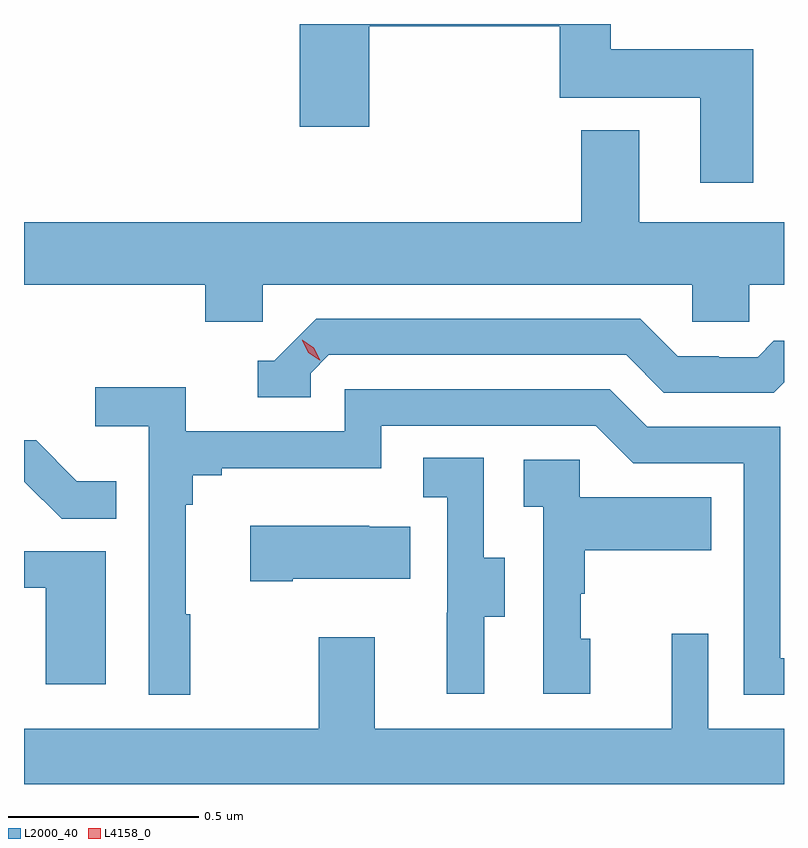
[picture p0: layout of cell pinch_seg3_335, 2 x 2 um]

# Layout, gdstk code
import gdstk
lib = gdstk.Library(unit=1e-6, precision=1e-09)
def P(c, l, *ps):  # polygons
    for p in ps: c.add(gdstk.Polygon(p, *l))
L2000_40 = (2000, 40)
L4158_0 = (4158, 0)

pinch_seg3_335 = lib.new_cell('pinch_seg3_335')
P(pinch_seg3_335, L2000_40, [(1012.567,722.848),(1012.192,722.848),(1012.192,722.914),(1011.374,722.914),(1011.374,722.643),(1011.557,722.643),(1011.557,722.908),(1012.058,722.908),(1012.058,722.72),(1012.427,722.72),(1012.427,722.496),(1012.567,722.496)],
  [(1011.276,722.228),(1012.407,722.228),(1012.407,722.13),(1012.557,722.13),(1012.557,722.228),(1012.648,722.228),(1012.648,722.392),(1012.267,722.392),(1012.267,722.635),(1012.115,722.635),(1012.115,722.392),(1010.648,722.392),(1010.648,722.228),(1011.125,722.228),(1011.125,722.13),(1011.276,722.13)],
  [(1011.402,721.995),(1011.45,722.043),(1012.233,722.043),(1012.332,721.944),(1012.621,721.944),(1012.648,721.971),(1012.648,722.08),(1012.621,722.08),(1012.579,722.037),(1012.476,722.037),(1012.476,722.04),(1012.369,722.04),(1012.27,722.139),(1011.417,722.139),(1011.306,722.028),(1011.263,722.028),(1011.263,721.932),(1011.402,721.932)],
  [(1011.085,721.361),(1011.073,721.361),(1011.073,721.649),(1011.092,721.649),(1011.092,721.726),(1011.169,721.726),(1011.169,721.745),(1011.588,721.745),(1011.588,721.857),(1012.152,721.857),(1012.251,721.758),(1012.542,721.758),(1012.542,721.149),(1012.648,721.149),(1012.648,721.245),(1012.638,721.245),(1012.638,721.854),(1012.288,721.854),(1012.189,721.953),(1011.492,721.953),(1011.492,721.842),(1011.074,721.842),(1011.074,721.958),(1010.835,721.958),(1010.835,721.856),(1010.976,721.856),(1010.976,721.149),(1011.085,721.149)],
  [(1010.891,721.711),(1010.787,721.711),(1010.68,721.818),(1010.648,721.818),(1010.648,721.71),(1010.649,721.71),(1010.747,721.612),(1010.891,721.612)],
  [(1011.859,721.354),(1011.913,721.354),(1011.913,721.509),(1011.858,721.509),(1011.858,721.772),(1011.699,721.772),(1011.699,721.669),(1011.762,721.669),(1011.762,721.365),(1011.761,721.365),(1011.761,721.152),(1011.859,721.152)],
  [(1012.138,721.296),(1012.113,721.296),(1012.113,721.415),(1012.123,721.415),(1012.123,721.529),(1012.457,721.529),(1012.457,721.669),(1012.11,721.669),(1012.11,721.767),(1011.963,721.767),(1011.963,721.643),(1012.014,721.643),(1012.014,721.152),(1012.138,721.152)],
  [(1011.355,721.454),(1011.665,721.454),(1011.665,721.591),(1011.557,721.591),(1011.557,721.594),(1011.243,721.594),(1011.243,721.447),(1011.355,721.447)],
  [(1010.863,721.527),(1010.648,721.527),(1010.648,721.431),(1010.705,721.431),(1010.705,721.176),(1010.863,721.176)],
  [(1012.648,721.06),(1012.449,721.06),(1012.449,721.309),(1012.352,721.309),(1012.352,721.06),(1011.571,721.06),(1011.571,721.3),(1011.424,721.3),(1011.424,721.06),(1010.648,721.06),(1010.648,720.914),(1012.648,720.914)])
P(pinch_seg3_335, L4158_0, [(1011.426,722.029),(1011.396,722.049),(1011.38,722.082),(1011.38,722.083),(1011.38,722.083),(1011.411,722.062),(1011.427,722.029),(1011.427,722.029)])

lib.write_gds('pinch_seg3_335.gds')
